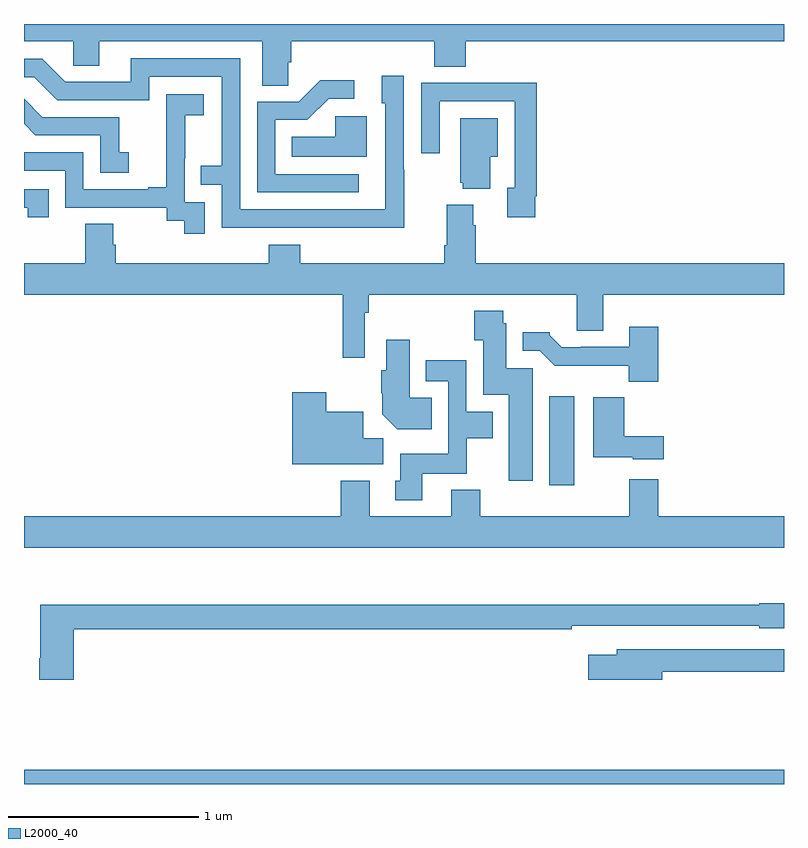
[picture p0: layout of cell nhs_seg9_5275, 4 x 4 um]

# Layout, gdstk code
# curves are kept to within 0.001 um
import gdstk
lib = gdstk.Library(unit=1e-6, precision=1e-09)
def R(c, l, rs):  # rectangles x0, y0, x1, y1
    for r in rs: c.add(gdstk.rectangle(r[:2], r[2:], *l))
def P(c, l, *ps):  # polygons
    for p in ps: c.add(gdstk.Polygon(p, *l))
L2000_40 = (2000, 40)

nhs_seg9_5275 = lib.new_cell('nhs_seg9_5275')
R(nhs_seg9_5275, L2000_40, [(417,1204.5,421,1204.576), (419.765,1206.072,419.896,1206.541)])
P(nhs_seg9_5275, L2000_40, [(418.392,1208.299),(418.406,1208.299),(418.406,1208.408),(419.159,1208.408),(419.159,1208.275),(419.324,1208.275),(419.324,1208.408),(421,1208.408),(421,1208.5),(417,1208.5),(417,1208.408),(417.258,1208.408),(417.258,1208.281),(417.397,1208.281),(417.397,1208.408),(418.253,1208.408),(418.253,1208.176),(418.392,1208.176)],
  [(419.001,1207.733),(418.998,1207.733),(418.998,1208.227),(418.883,1208.227),(418.883,1208.082),(418.902,1208.082),(418.901,1207.524),(418.137,1207.524),(418.137,1208.319),(417.563,1208.319),(417.563,1208.196),(417.216,1208.196),(417.096,1208.316),(417,1208.316),(417,1208.22),(417.054,1208.22),(417.174,1208.1),(417.66,1208.1),(417.66,1208.223),(418.041,1208.223),(418.041,1207.754),(417.931,1207.754),(417.931,1207.653),(418.041,1207.653),(418.041,1207.428),(419.001,1207.427)],
  [(418.762,1207.71),(418.323,1207.71),(418.323,1207.995),(418.492,1207.995),(418.603,1208.106),(418.738,1208.106),(418.738,1208.204),(418.559,1208.204),(418.446,1208.091),(418.227,1208.091),(418.227,1207.614),(418.762,1207.614)],
  [(419.692,1207.594),(419.699,1207.594),(419.699,1208.192),(419.407,1208.192),(419.407,1208.19),(419.091,1208.19),(419.091,1207.821),(419.187,1207.821),(419.187,1208.094),(419.583,1208.094),(419.583,1207.638),(419.543,1207.638),(419.543,1207.482),(419.692,1207.482)],
  [(417.951,1207.563),(417.846,1207.563),(417.846,1207.793),(417.848,1207.793),(417.848,1208.021),(417.946,1208.021),(417.946,1208.131),(417.748,1208.131),(417.748,1207.925),(417.749,1207.925),(417.749,1207.642),(417.653,1207.642),(417.653,1207.629),(417.312,1207.629),(417.312,1207.824),(417,1207.824),(417,1207.728),(417.216,1207.728),(417.216,1207.533),(417.75,1207.533),(417.75,1207.465),(417.843,1207.465),(417.843,1207.395),(417.951,1207.395)],
  [(417.55,1207.825),(417.501,1207.825),(417.501,1208.01),(417.097,1208.01),(417,1208.107),(417,1207.974),(417.06,1207.914),(417.402,1207.914),(417.402,1207.716),(417.55,1207.716)],
  [(418.804,1208.014),(418.639,1208.014),(418.639,1207.906),(418.408,1207.906),(418.408,1207.802),(418.804,1207.802)],
  [(419.455,1207.802),(419.494,1207.802),(419.494,1208.005),(419.297,1208.005),(419.297,1207.665),(419.309,1207.665),(419.309,1207.634),(419.455,1207.634)],
  [(417.131,1207.629),(417,1207.629),(417,1207.533),(417.02,1207.533),(417.02,1207.482),(417.131,1207.482)],
  [(418.794,1206.98),(418.814,1206.98),(418.814,1207.076),(419.909,1207.076),(419.909,1206.886),(420.049,1206.886),(420.049,1207.076),(421,1207.076),(421,1207.24),(419.378,1207.24),(419.378,1207.442),(419.365,1207.442),(419.365,1207.549),(419.225,1207.549),(419.225,1207.336),(419.213,1207.336),(419.213,1207.24),(418.454,1207.24),(418.454,1207.339),(418.289,1207.339),(418.289,1207.24),(417.482,1207.24),(417.482,1207.338),(417.469,1207.338),(417.469,1207.448),(417.322,1207.448),(417.322,1207.24),(417,1207.24),(417,1207.076),(418.678,1207.076),(418.678,1206.744),(418.794,1206.744)],
  [(419.677,1206.687),(419.539,1206.687),(419.539,1206.924),(419.523,1206.924),(419.523,1206.991),(419.371,1206.991),(419.371,1206.835),(419.417,1206.835),(419.417,1206.548),(419.552,1206.548),(419.552,1206.096),(419.677,1206.096)],
  [(420.338,1206.907),(420.185,1206.907),(420.185,1206.801),(419.929,1206.801),(419.929,1206.798),(419.83,1206.798),(419.766,1206.862),(419.766,1206.877),(419.624,1206.877),(419.624,1206.78),(419.715,1206.78),(419.794,1206.702),(420.183,1206.702),(420.183,1206.617),(420.338,1206.617)],
  [(419.147,1206.532),(419.029,1206.532),(419.029,1206.838),(418.907,1206.838),(418.907,1206.678),(418.879,1206.678),(418.879,1206.556),(418.886,1206.556),(418.886,1206.446),(418.964,1206.368),(419.147,1206.368)],
  [(419.095,1206.134),(419.331,1206.134),(419.331,1206.32),(419.467,1206.32),(419.467,1206.46),(419.328,1206.46),(419.328,1206.73),(419.115,1206.73),(419.115,1206.621),(419.232,1206.621),(419.232,1206.238),(418.979,1206.238),(418.979,1206.096),(418.955,1206.096),(418.955,1205.994),(419.095,1205.994)],
  [(418.891,1206.32),(418.786,1206.32),(418.786,1206.46),(418.59,1206.46),(418.59,1206.562),(418.412,1206.562),(418.412,1206.182),(418.891,1206.182)],
  [(420.367,1206.331),(420.158,1206.331),(420.158,1206.535),(419.996,1206.535),(419.996,1206.221),(420.204,1206.221),(420.204,1206.209),(420.367,1206.209)],
  [(421,1205.908),(420.338,1205.908),(420.338,1206.103),(420.185,1206.103),(420.185,1205.908),(419.402,1205.908),(419.402,1206.049),(419.249,1206.049),(419.249,1205.908),(418.819,1205.908),(418.819,1206.097),(418.667,1206.097),(418.667,1205.908),(417,1205.908),(417,1205.744),(421,1205.744)],
  [(417.263,1205.314),(419.882,1205.314),(419.882,1205.334),(420.87,1205.334),(420.87,1205.321),(421,1205.321),(421,1205.451),(420.87,1205.451),(420.87,1205.443),(417.085,1205.443),(417.085,1205.161),(417.08,1205.161),(417.08,1205.049),(417.263,1205.049)],
  [(420.358,1205.092),(421,1205.092),(421,1205.208),(420.119,1205.208),(420.119,1205.179),(419.97,1205.179),(419.97,1205.05),(420.358,1205.05)])

lib.write_gds('nhs_seg9_5275.gds')
